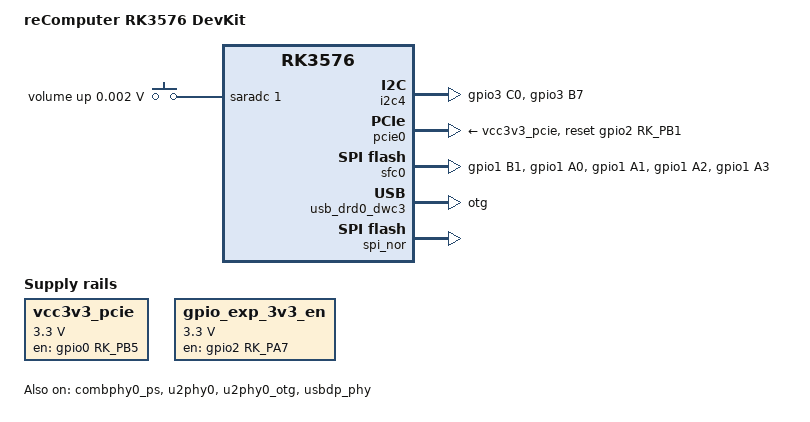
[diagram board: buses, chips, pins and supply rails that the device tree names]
// SPDX-License-Identifier: (GPL-2.0+ OR MIT)
/*
 * Copyright (c) 2024 Rockchip Electronics Co., Ltd.
 * Copyright (c) 2024 Radxa Computer (Shenzhen) Co., Ltd.
 */

/dts-v1/;
#include "rk3576.dtsi"
#include "rk3576-u-boot.dtsi"
#include <dt-bindings/input/input.h>

/ {
	model = "reComputer RK3576 DevKit";
	compatible = "seeed,recomputer-rk3576-devkit", "rockchip,rk3576";

	adc-keys {
		compatible = "adc-keys";
		io-channels = <&saradc 1>;
		io-channel-names = "buttons";
		keyup-threshold-microvolt = <1800000>;
		u-boot,dm-pre-reloc;
		status = "okay";

		volumeup-key {
			u-boot,dm-pre-reloc;
			linux,code = <KEY_VOLUMEUP>;
			label = "volume up";
			press-threshold-microvolt = <1750>;
		};
	};

	vcc3v3_pcie: vcc3v3-pcie {
		u-boot,dm-pre-reloc;
		compatible = "regulator-fixed";
		regulator-name = "vcc3v3_pcie";
		regulator-min-microvolt = <3300000>;
		regulator-max-microvolt = <3300000>;
		enable-active-high;
		gpios = <&gpio0 RK_PB5 GPIO_ACTIVE_HIGH>;
		startup-delay-us = <5000>;
		pinctrl-names = "default";
		pinctrl-0 = <&pcie_pwr_en>;
	};

	gpio_exp_3v3_en: gpio_exp_3v3_en{
		u-boot,dm-pre-reloc;
		compatible = "regulator-fixed";
		regulator-name = "exp_3v3_en";
		regulator-min-microvolt = <3300000>;
		regulator-max-microvolt = <3300000>;
		regulator-always-on;
		regulator-boot-on;
		enable-active-high;
		gpios = <&gpio2 RK_PA7 GPIO_ACTIVE_HIGH>;
		pinctrl-names = "default";
		pinctrl-0 = <&vsys_3v3_exp_en>;
	};


};


&i2c4{
	status = "okay";
	pinctrl-0 = <&eeprom_i2c_pin>;
	u-boot,dm-pre-reloc;
	u-boot,dm-spl;
};


&combphy0_ps {
	u-boot,dm-pre-reloc;
	status = "okay";
};

&pcie0 {
	u-boot,dm-pre-reloc;
	reset-gpios = <&gpio2 RK_PB1 GPIO_ACTIVE_HIGH>;
	rockchip,skip-scan-in-resume;
	vpcie3v3-supply = <&vcc3v3_pcie>;
	status = "okay";
};

&pcie0_intc {
	u-boot,dm-pre-reloc;
};

&sdhci {
	status = "disabled";
};

&sfc0 {
	status = "okay";
	u-boot,dm-pre-reloc;
	pinctrl-names = "default";
	pinctrl-0 = <&fspi0_pins>;
};

&sdmmc {
	pinctrl-names = "default";
	pinctrl-0 = <&sdmmc0_clk &sdmmc0_cmd &sdmmc0_det &sdmmc0_bus4>;
};

&u2phy0 {
	u-boot,dm-pre-reloc;
	status = "okay";
};

&u2phy0_otg {
	u-boot,dm-pre-reloc;
	status = "okay";
};

&usbdp_phy {
	u-boot,dm-pre-reloc;
	status = "okay";
};

&usb_drd0_dwc3 {
	u-boot,dm-pre-reloc;
	dr_mode = "otg";
	extcon = <&u2phy0>;
	status = "okay";
};

&spi_nor {
	status = "okay";
	u-boot,dm-pre-reloc;
};


&pinctrl {
	u-boot,dm-pre-reloc;
	u-boot,dm-spl;
	status = "okay";
	eeprom_i2c {
		u-boot,dm-pre-reloc;
		u-boot,dm-spl;
		eeprom_i2c_pin: eeprom-i2c-pin {
			u-boot,dm-pre-reloc;
			u-boot,dm-spl;
			rockchip,pins =
				/* i2c4_scl_m3 */
				<3 RK_PC0 11 &pcfg_pull_none>,
				/* i2c4_sda_m3 */
				<3 RK_PB7 11 &pcfg_pull_none>;
		};
	};

	pcie {
		u-boot,dm-pre-reloc;
		pcie_pwr_en: pcie-pwr-en {
			u-boot,dm-pre-reloc;
			rockchip,pins = <0 RK_PB5 RK_FUNC_GPIO &pcfg_pull_none>;
		};
	};

	gpio_exp_en{
		vsys_3v3_exp_en: vsys-3v3-exp-en {
			rockchip,pins = <2 RK_PA7 RK_FUNC_GPIO &pcfg_pull_none>;
		};
	};

		/delete-node/ fspi0;
	fspi0 {
		u-boot,dm-spl;
		fspi0_pins: fspi0-pins {
			u-boot,dm-spl;
			rockchip,pins =
				/* fspi0_clk */
				<1 RK_PB1 2 &pcfg_pull_none>,
				/* fspi0_d0 */
				<1 RK_PA0 2 &pcfg_pull_none>,
				/* fspi0_d1 */
				<1 RK_PA1 2 &pcfg_pull_none>,
				/* fspi0_d2 */
				<1 RK_PA2 2 &pcfg_pull_none>,
				/* fspi0_d3 */
				<1 RK_PA3 2 &pcfg_pull_none>;
		};

		fspi0_csn0: fspi0-csn0 {
			u-boot,dm-spl;
			rockchip,pins =
				/* fspi0_csn0 */
				<1 RK_PB3 2 &pcfg_pull_none>;
		};
	};


};
